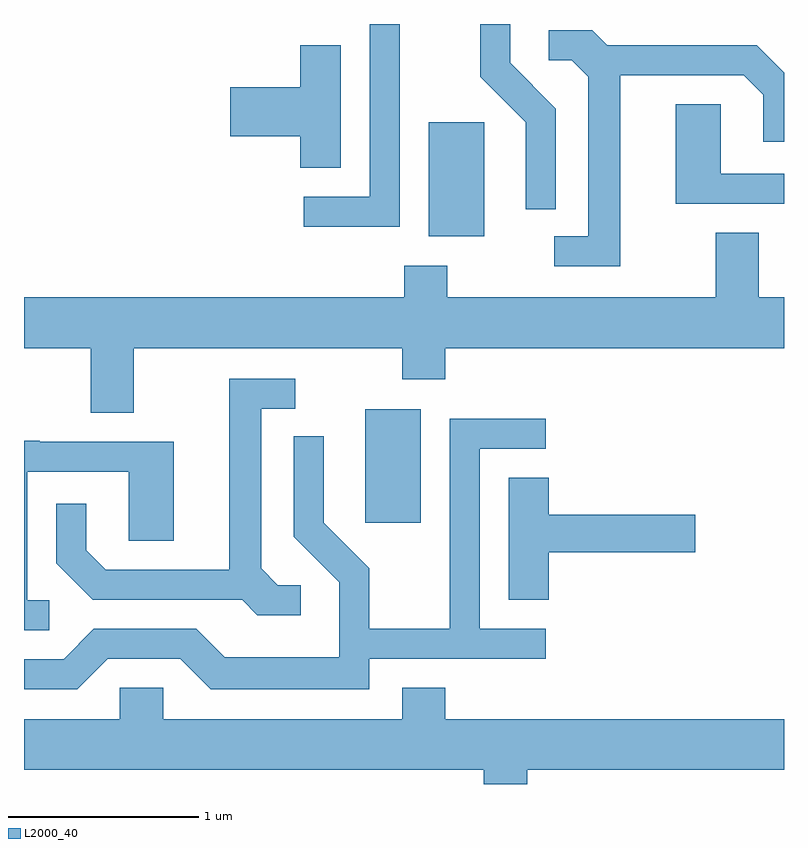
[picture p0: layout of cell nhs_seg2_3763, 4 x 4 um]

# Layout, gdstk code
import gdstk
lib = gdstk.Library(unit=1e-6, precision=1e-09)
def R(c, l, rs):  # rectangles x0, y0, x1, y1
    for r in rs: c.add(gdstk.rectangle(r[:2], r[2:], *l))
def P(c, l, *ps):  # polygons
    for p in ps: c.add(gdstk.Polygon(p, *l))
L2000_40 = (2000, 40)

nhs_seg2_3763 = lib.new_cell('nhs_seg2_3763')
R(nhs_seg2_3763, L2000_40, [(297.406,1045.176,297.699,1045.774), (297.741,1046.686,298.034,1047.284)])
P(nhs_seg2_3763, L2000_40, [(297.589,1047.802),(297.431,1047.802),(297.431,1046.894),(297.083,1046.894),(297.083,1046.736),(297.589,1046.736)],
  [(298.409,1047.357),(298.169,1047.597),(298.169,1047.802),(298.011,1047.802),(298.011,1047.524),(298.251,1047.284),(298.251,1046.828),(298.409,1046.828)],
  [(298.749,1047.531),(299.399,1047.531),(299.501,1047.429),(299.501,1047.183),(299.611,1047.183),(299.611,1047.545),(299.467,1047.689),(298.682,1047.689),(298.602,1047.769),(298.373,1047.769),(298.373,1047.611),(298.494,1047.611),(298.581,1047.524),(298.581,1046.684),(298.403,1046.684),(298.403,1046.526),(298.749,1046.526)],
  [(297.279,1047.689),(297.066,1047.689),(297.066,1047.469),(296.696,1047.469),(296.696,1047.211),(297.066,1047.211),(297.066,1047.046),(297.279,1047.046)],
  [(299.611,1047.014),(299.279,1047.014),(299.279,1047.379),(299.041,1047.379),(299.041,1046.856),(299.611,1046.856)],
  [(296.189,1046.096),(297.601,1046.096),(297.601,1045.931),(297.829,1045.931),(297.829,1046.096),(299.611,1046.096),(299.611,1046.364),(299.479,1046.364),(299.479,1046.704),(299.251,1046.704),(299.251,1046.364),(297.839,1046.364),(297.839,1046.529),(297.611,1046.529),(297.611,1046.364),(295.611,1046.364),(295.611,1046.096),(295.961,1046.096),(295.961,1045.756),(296.189,1045.756)],
  [(297.068,1044.849),(296.947,1044.849),(296.859,1044.937),(296.859,1045.776),(297.038,1045.776),(297.038,1045.934),(296.691,1045.934),(296.691,1044.929),(296.042,1044.929),(295.939,1045.032),(295.939,1045.277),(295.781,1045.277),(295.781,1044.964),(295.974,1044.771),(296.759,1044.771),(296.839,1044.691),(297.068,1044.691)],
  [(296.052,1044.461),(296.434,1044.461),(296.594,1044.301),(297.429,1044.301),(297.429,1044.461),(298.358,1044.461),(298.358,1044.619),(298.009,1044.619),(298.009,1045.566),(298.358,1045.566),(298.358,1045.724),(297.851,1045.724),(297.851,1044.619),(297.429,1044.619),(297.429,1044.937),(297.189,1045.177),(297.189,1045.632),(297.031,1045.632),(297.031,1045.103),(297.271,1044.863),(297.271,1044.469),(296.667,1044.469),(296.517,1044.619),(295.979,1044.619),(295.819,1044.459),(295.611,1044.459),(295.611,1044.301),(295.892,1044.301)],
  [(295.743,1044.769),(295.629,1044.769),(295.629,1045.446),(296.161,1045.446),(296.161,1045.081),(296.399,1045.081),(296.399,1045.604),(295.695,1045.604),(295.695,1045.609),(295.611,1045.609),(295.611,1044.611),(295.743,1044.611)],
  [(298.374,1045.021),(299.144,1045.021),(299.144,1045.219),(298.374,1045.219),(298.374,1045.414),(298.161,1045.414),(298.161,1044.771),(298.374,1044.771)],
  [(298.259,1043.876),(299.611,1043.876),(299.611,1044.144),(297.829,1044.144),(297.829,1044.309),(297.601,1044.309),(297.601,1044.144),(296.344,1044.144),(296.344,1044.309),(296.116,1044.309),(296.116,1044.144),(295.611,1044.144),(295.611,1043.876),(298.031,1043.876),(298.031,1043.802),(298.259,1043.802)])

lib.write_gds('nhs_seg2_3763.gds')
